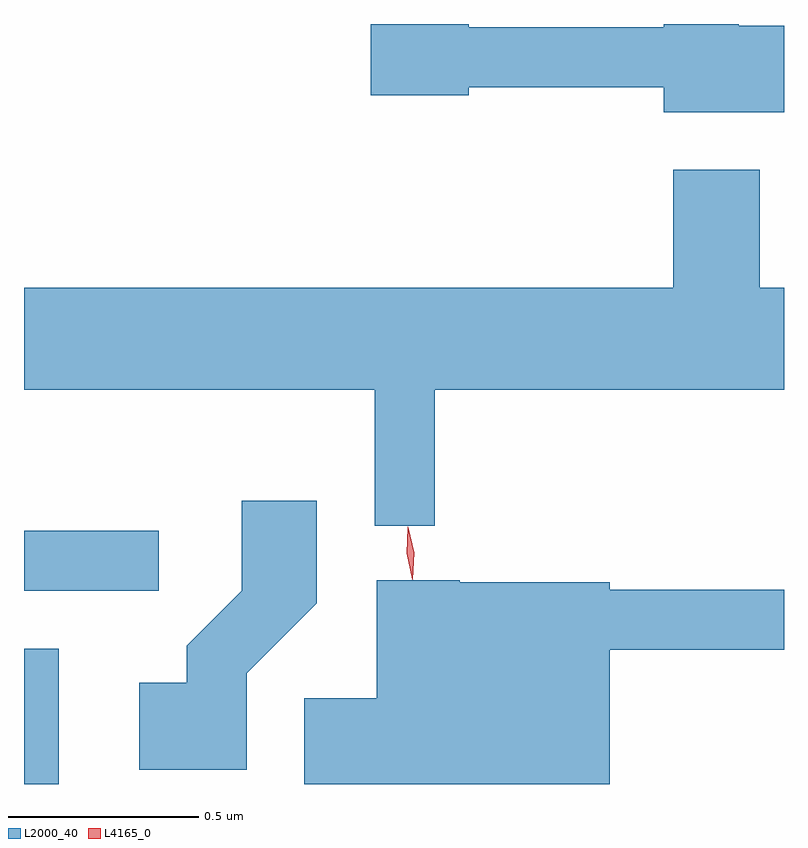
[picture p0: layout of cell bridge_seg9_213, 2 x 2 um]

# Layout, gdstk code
import gdstk
lib = gdstk.Library(unit=1e-6, precision=1e-09)
def R(c, l, rs):  # rectangles x0, y0, x1, y1
    for r in rs: c.add(gdstk.rectangle(r[:2], r[2:], *l))
def P(c, l, *ps):  # polygons
    for p in ps: c.add(gdstk.Polygon(p, *l))
L2000_40 = (2000, 40)
L4165_0 = (4165, 0)

bridge_seg9_213 = lib.new_cell('bridge_seg9_213')
R(bridge_seg9_213, L2000_40, [(1128.993,1964.138,1129.084,1964.494), (1128.993,1964.646,1129.348,1964.804)])
P(bridge_seg9_213, L2000_40, [(1130.993,1966.134),(1130.874,1966.134),(1130.874,1966.138),(1130.676,1966.138),(1130.676,1966.129),(1130.164,1966.129),(1130.164,1966.138),(1129.906,1966.138),(1129.906,1965.951),(1130.164,1965.951),(1130.164,1965.971),(1130.676,1965.971),(1130.676,1965.906),(1130.993,1965.906)],
  [(1130.074,1965.176),(1130.993,1965.176),(1130.993,1965.444),(1130.929,1965.444),(1130.929,1965.754),(1130.701,1965.754),(1130.701,1965.444),(1128.993,1965.444),(1128.993,1965.176),(1129.916,1965.176),(1129.916,1964.818),(1130.074,1964.818)],
  [(1129.579,1964.429),(1129.764,1964.614),(1129.764,1964.884),(1129.566,1964.884),(1129.566,1964.647),(1129.421,1964.502),(1129.421,1964.404),(1129.296,1964.404),(1129.296,1964.176),(1129.579,1964.176)],
  [(1130.534,1964.491),(1130.993,1964.491),(1130.993,1964.649),(1130.534,1964.649),(1130.534,1964.669),(1130.14,1964.669),(1130.14,1964.674),(1129.921,1964.674),(1129.921,1964.364),(1129.731,1964.364),(1129.731,1964.138),(1130.534,1964.138)])
P(bridge_seg9_213, L4165_0, [(1130.016,1964.676),(1130.015,1964.677),(1130,1964.745),(1130.003,1964.814),(1130.003,1964.815),(1130.004,1964.814),(1130.02,1964.746),(1130.016,1964.677)])

lib.write_gds('bridge_seg9_213.gds')
